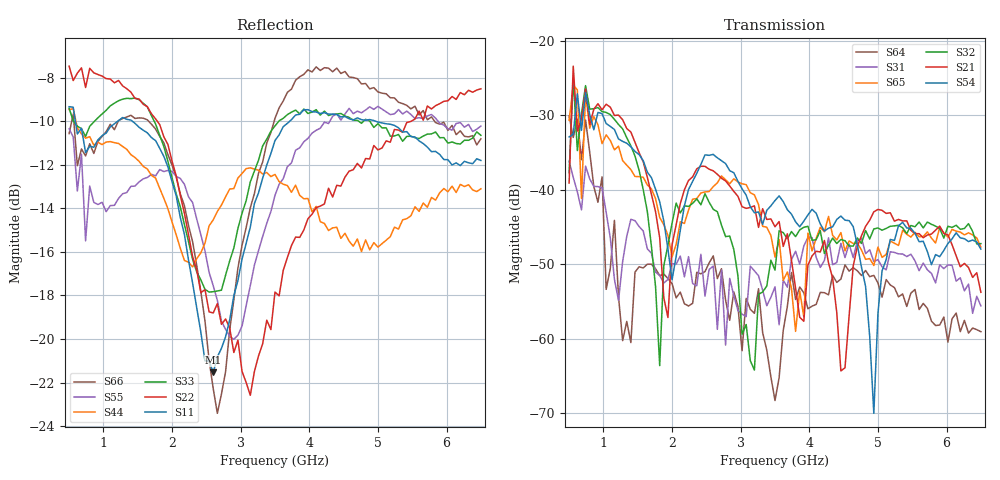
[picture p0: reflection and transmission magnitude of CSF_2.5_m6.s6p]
!Keysight Technologies,M9804A,MY58100912,A.14.10.03
!Date: Thursday, April 27, 2023 10:28:33
!Correction: S11(C  6-Port  )
!S12(C  6-Port  )
!S13(C  6-Port  )
!S14(C  6-Port  )
!S15(C  6-Port  )
!S16(C  6-Port  )
!S21(C  6-Port  )
!S22(C  6-Port  )
!S23(C  6-Port  )
!S24(C  6-Port  )
!S25(C  6-Port  )
!S26(C  6-Port  )
!S31(C  6-Port  )
!S32(C  6-Port  )
!S33(C  6-Port  )
!S34(C  6-Port  )
!S35(C  6-Port  )
!S36(C  6-Port  )
!S41(C  6-Port  )
!S42(C  6-Port  )
!S43(C  6-Port  )
!S44(C  6-Port  )
!S45(C  6-Port  )
!S46(C  6-Port  )
!S51(C  6-Port  )
!S52(C  6-Port  )
!S53(C  6-Port  )
!S54(C  6-Port  )
!S55(C  6-Port  )
!S56(C  6-Port  )
!S61(C  6-Port  )
!S62(C  6-Port  )
!S63(C  6-Port  )
!S64(C  6-Port  )
!S65(C  6-Port  )
!S66(C  6-Port  )
!S6P File: Measurement: :
# Hz S  RI  R 50
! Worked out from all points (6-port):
!   101 points, 500 MHz to 6.5 GHz, reference 50 ohm
!   strongest paths, dB at 500 MHz, 2 GHz, 3.5 GHz, 5 GHz, 6.5 GHz:
!     S54: -32.9, -52.1, -41.4, -56.6, -48.0
!     S21: -39.1, -47.4, -44.9, -42.6, -53.8
!     S32: -37.7, -44.5, -50.8, -45.1, -47.2
!     S65: -30.7, -49.0, -49.0, -47.7, -47.7
!     S31: -36.1, -49.9, -53.0, -49.4, -55.6
!     S64: -30.1, -52.6, -68.3, -52.5, -59.0
!   lowest |S11| = -21.5 dB at 2.6 GHz (marker M1), VSWR 1.18, Z = 42.5 + j2.04 ohm
!   |S11| at or under -10 dB: 591.1 MHz to 1.21 GHz (619 MHz wide, 68.7 % of centre); 1.419 GHz to 3.716 GHz (2.297 GHz wide, 89.5 % of centre); 4.963 GHz to end of sweep
